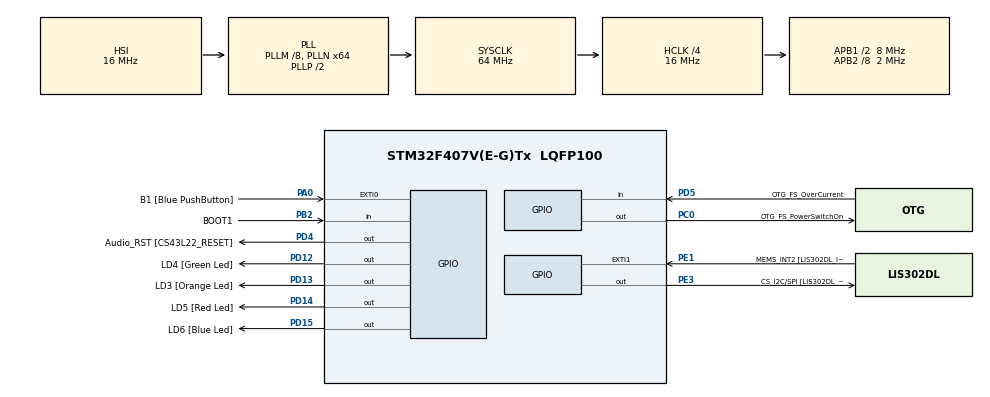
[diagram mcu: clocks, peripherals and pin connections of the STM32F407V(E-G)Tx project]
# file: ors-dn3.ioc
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Dma.MEMTOMEM.0.Direction=DMA_MEMORY_TO_MEMORY
Dma.MEMTOMEM.0.FIFOMode=DMA_FIFOMODE_ENABLE
Dma.MEMTOMEM.0.FIFOThreshold=DMA_FIFO_THRESHOLD_FULL
Dma.MEMTOMEM.0.Instance=DMA2_Stream0
Dma.MEMTOMEM.0.MemBurst=DMA_MBURST_SINGLE
Dma.MEMTOMEM.0.MemDataAlignment=DMA_MDATAALIGN_BYTE
Dma.MEMTOMEM.0.MemInc=DMA_MINC_ENABLE
Dma.MEMTOMEM.0.Mode=DMA_NORMAL
Dma.MEMTOMEM.0.PeriphBurst=DMA_PBURST_SINGLE
Dma.MEMTOMEM.0.PeriphDataAlignment=DMA_PDATAALIGN_BYTE
Dma.MEMTOMEM.0.PeriphInc=DMA_PINC_ENABLE
Dma.MEMTOMEM.0.Priority=DMA_PRIORITY_MEDIUM
Dma.Request0=MEMTOMEM
Mcu.Family=STM32F4
Mcu.Name=STM32F407V(E-G)Tx
Mcu.Package=LQFP100
NVIC.PriorityGroup=NVIC_PRIORITYGROUP_0
PA0-WKUP.GPIO_Label=B1 [Blue PushButton]
PA0-WKUP.Signal=GPXTI0
PA10.GPIO_Label=OTG_FS_ID
PA10.GPIO_Mode=GPIO_MODE_AF_PP
PA10.GPIO_PuPd=GPIO_NOPULL
PA10.GPIO_Speed=GPIO_SPEED_FREQ_LOW
PA10.Signal=USB_OTG_FS_ID
PA11.GPIO_Label=OTG_FS_DM
PA11.GPIO_Mode=GPIO_MODE_AF_PP
PA11.GPIO_PuPd=GPIO_NOPULL
PA11.GPIO_Speed=GPIO_SPEED_FREQ_LOW
PA11.Signal=USB_OTG_FS_DM
PA12.GPIO_Label=OTG_FS_DP
PA12.GPIO_Mode=GPIO_MODE_AF_PP
PA12.GPIO_PuPd=GPIO_NOPULL
PA12.GPIO_Speed=GPIO_SPEED_FREQ_LOW
PA12.Signal=USB_OTG_FS_DP
PA13.GPIO_Label=SWDIO
PA13.Signal=SYS_JTMS-SWDIO
PA14.GPIO_Label=SWCLK
PA14.Signal=SYS_JTCK-SWCLK
PA4.GPIO_Label=I2S3_WS [CS43L22_LRCK]
PA4.GPIO_Mode=GPIO_MODE_AF_PP
PA4.GPIO_PuPd=GPIO_NOPULL
PA4.GPIO_Speed=GPIO_SPEED_FREQ_LOW
PA4.Signal=I2S3_WS
PA5.GPIO_Label=SPI1_SCK [LIS302DL_SCL/SPC]
PA5.GPIO_Mode=GPIO_MODE_AF_PP
PA5.GPIO_PuPd=GPIO_NOPULL
PA5.GPIO_Speed=GPIO_SPEED_FREQ_LOW
PA5.Signal=SPI1_SCK
PA6.GPIO_Label=SPI1_MISO [LIS302DL_SDO]
PA6.GPIO_Mode=GPIO_MODE_AF_PP
PA6.GPIO_PuPd=GPIO_NOPULL
PA6.GPIO_Speed=GPIO_SPEED_FREQ_LOW
PA6.Signal=SPI1_MISO
PA7.GPIO_Label=SPI1_MOSI [LIS302DL_SDA/SDI/SDO]
PA7.GPIO_Mode=GPIO_MODE_AF_PP
PA7.GPIO_PuPd=GPIO_NOPULL
PA7.GPIO_Speed=GPIO_SPEED_FREQ_LOW
PA7.Signal=SPI1_MOSI
PA9.GPIO_Label=VBUS_FS
PA9.GPIO_Mode=GPIO_MODE_INPUT
PA9.GPIO_PuPd=GPIO_NOPULL
PA9.Signal=USB_OTG_FS_VBUS
PB10.GPIO_Label=CLK_IN [MP45DT02_CLK]
PB10.GPIO_Mode=GPIO_MODE_AF_PP
PB10.GPIO_PuPd=GPIO_NOPULL
PB10.GPIO_Speed=GPIO_SPEED_FREQ_LOW
PB10.Signal=I2S2_CK
PB2.GPIO_Label=BOOT1
PB2.GPIO_Mode=GPIO_MODE_INPUT
PB2.GPIO_PuPd=GPIO_NOPULL
PB2.Signal=GPIO_Input
PB3.GPIO_Label=SWO
PB3.Signal=SYS_JTDO-SWO
PB6.GPIO_Label=Audio_SCL [CS43L22_SCL]
PB6.GPIO_Mode=GPIO_MODE_AF_OD
PB6.GPIO_PuPd=GPIO_NOPULL
PB6.GPIO_Speed=GPIO_SPEED_FREQ_LOW
PB6.Signal=I2C1_SCL
PB9.GPIO_Label=Audio_SDA [CS43L22_SDA]
PB9.GPIO_Mode=GPIO_MODE_AF_OD
PB9.GPIO_PuPd=GPIO_NOPULL
PB9.GPIO_Speed=GPIO_SPEED_FREQ_LOW
PB9.Signal=I2C1_SDA
PC0.GPIO_Label=OTG_FS_PowerSwitchOn
PC0.GPIO_PuPd=GPIO_NOPULL
PC0.GPIO_Speed=GPIO_SPEED_FREQ_LOW
PC0.PinState=GPIO_PIN_SET
PC0.Signal=GPIO_Output
PC10.GPIO_Label=I2S3_SCK [CS43L22_SCLK]
PC10.GPIO_Mode=GPIO_MODE_AF_PP
PC10.GPIO_PuPd=GPIO_NOPULL
PC10.GPIO_Speed=GPIO_SPEED_FREQ_LOW
PC10.Signal=I2S3_CK
PC12.GPIO_Label=I2S3_SD [CS43L22_SDIN]
PC12.GPIO_Mode=GPIO_MODE_AF_PP
PC12.GPIO_PuPd=GPIO_NOPULL
PC12.GPIO_Speed=GPIO_SPEED_FREQ_LOW
PC12.Signal=I2S3_SD
PC14-OSC32_IN.GPIO_Label=PC14-OSC32_IN
PC14-OSC32_IN.Signal=RCC_OSC32_IN
PC15-OSC32_OUT.GPIO_Label=PC15-OSC32_OUT
PC15-OSC32_OUT.Signal=RCC_OSC32_OUT
PC3.GPIO_Label=PDM_OUT [MP45DT02_DOUT]
PC3.GPIO_Mode=GPIO_MODE_AF_PP
PC3.GPIO_PuPd=GPIO_NOPULL
PC3.GPIO_Speed=GPIO_SPEED_FREQ_LOW
PC3.Signal=I2S2_SD
PC7.GPIO_Label=I2S3_MCK [CS43L22_MCLK]
PC7.GPIO_Mode=GPIO_MODE_AF_PP
PC7.GPIO_PuPd=GPIO_NOPULL
PC7.GPIO_Speed=GPIO_SPEED_FREQ_LOW
PC7.Signal=I2S3_MCK
PD12.GPIO_Label=LD4 [Green Led]
PD12.GPIO_PuPd=GPIO_NOPULL
PD12.GPIO_Speed=GPIO_SPEED_FREQ_LOW
PD12.Signal=GPIO_Output
PD13.GPIO_Label=LD3 [Orange Led]
PD13.GPIO_PuPd=GPIO_NOPULL
PD13.GPIO_Speed=GPIO_SPEED_FREQ_LOW
PD13.Signal=GPIO_Output
PD14.GPIO_Label=LD5 [Red Led]
PD14.GPIO_PuPd=GPIO_NOPULL
PD14.GPIO_Speed=GPIO_SPEED_FREQ_LOW
PD14.Signal=GPIO_Output
PD15.GPIO_Label=LD6 [Blue Led]
PD15.GPIO_PuPd=GPIO_NOPULL
PD15.GPIO_Speed=GPIO_SPEED_FREQ_LOW
PD15.Signal=GPIO_Output
PD4.GPIO_Label=Audio_RST [CS43L22_RESET]
PD4.GPIO_PuPd=GPIO_NOPULL
PD4.GPIO_Speed=GPIO_SPEED_FREQ_LOW
PD4.Signal=GPIO_Output
PD5.GPIO_Label=OTG_FS_OverCurrent
PD5.GPIO_Mode=GPIO_MODE_INPUT
PD5.GPIO_PuPd=GPIO_NOPULL
PD5.Signal=GPIO_Input
PE1.GPIO_Label=MEMS_INT2 [LIS302DL_INT2]
PE1.GPIO_ModeDefaultEXTI=GPIO_MODE_EVT_RISING
PE1.GPIO_PuPd=GPIO_NOPULL
PE1.Signal=GPXTI1
PE3.GPIO_Label=CS_I2C/SPI [LIS302DL_CS_I2C/SPI]
PE3.GPIO_PuPd=GPIO_NOPULL
PE3.GPIO_Speed=GPIO_SPEED_FREQ_LOW
PE3.Signal=GPIO_Output
PH0-OSC_IN.GPIO_Label=PH0-OSC_IN
PH0-OSC_IN.Signal=RCC_OSC_IN
PH1-OSC_OUT.GPIO_Label=PH1-OSC_OUT
PH1-OSC_OUT.Signal=RCC_OSC_OUT
ProjectManager.HeapSize=0x200
ProjectManager.StackSize=0x400
ProjectManager.TargetToolchain=STM32CubeIDE
RCC.48MHZClocksFreq_Value=18285714.285714287
RCC.AHBCLKDivider=RCC_SYSCLK_DIV4
RCC.AHBFreq_Value=16000000
RCC.APB1CLKDivider=RCC_HCLK_DIV2
RCC.APB1Freq_Value=8000000
RCC.APB1TimFreq_Value=16000000
RCC.APB2CLKDivider=RCC_HCLK_DIV8
RCC.APB2Freq_Value=2000000
RCC.APB2TimFreq_Value=4000000
RCC.CortexFreq_Value=16000000
RCC.HCLKFreq_Value=16000000
RCC.HSE_VALUE=8000000
RCC.HSI_VALUE=16000000
RCC.LSE_VALUE=32768
RCC.PLLM=8
RCC.PLLN=64
RCC.PLLQ=7
RCC.SYSCLKFreq_VALUE=64000000
RCC.SYSCLKSource=RCC_SYSCLKSOURCE_PLLCLK
RCC.VCOOutputFreq_Value=128000000
board=STM32F407G-DISC1

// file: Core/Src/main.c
// PLAN
//--> 2 timerja
//    --> timer 3
//        --> interrupt vsakih 50ms
//        --> stej do 80 (4s) prenesi polji Ay in Ax (DMA)
//        --> stej do 400 (20s) --> analiza podatkov
//    --> timer 4 pwm za flashanje ledic
//--> polji Ay in Ax (80 meritev, ena meritev vsakih 50ms),
//    polje B (800 meritev, DMA prenos iz Ay, Ax vsake 4s). Ko se napolni, izvedemo analizo podatkov
//--> analiza podatkov
//    ce je odstopanje v podatkih visoko, zacnemo naslednih 20s flashat lucke.

/* USER CODE END Header */
#include "main.h"
#include <math.h>

void SystemClock_Config(void);
static void MX_GPIO_Init(void);

/* USER CODE BEGIN PFP */

TIM_HandleTypeDef timer;
TIM_HandleTypeDef timer2;

uint8_t Ax[80];
uint8_t Ay[80];
uint8_t B[900];

uint8_t in;
uint8_t in2;
uint8_t out;

SPI_HandleTypeDef hspi1;

DMA_HandleTypeDef dma;
DMA_InitTypeDef  DMA_InitStruct;

/* USER CODE END PFP */

/* USER CODE BEGIN 0 */

extern  int cnt1;
extern int cnt2;

void func(){

	HAL_GPIO_WritePin(GPIOE, GPIO_PIN_3, GPIO_PIN_RESET);
			 out = 0x29 | 0x80; // 0xa9
			 HAL_SPI_TransmitReceive(&hspi1, &out, &in, 1, HAL_MAX_DELAY);
			 HAL_SPI_TransmitReceive(&hspi1, &out, &in, 1, HAL_MAX_DELAY);
			 HAL_GPIO_WritePin(GPIOE, GPIO_PIN_3, GPIO_PIN_SET);

			 Ax[cnt1]=abs(in);

			 // beri naklon po y osi -> Naslov 0x2B
			 HAL_GPIO_WritePin(GPIOE, GPIO_PIN_3, GPIO_PIN_RESET);
			 out = 0x2B | 0x80; // 0xaB
			 HAL_SPI_TransmitReceive(&hspi1, &out, &in2, 1, HAL_MAX_DELAY);
			 HAL_SPI_TransmitReceive(&hspi1, &out, &in2, 1, HAL_MAX_DELAY);
			 HAL_GPIO_WritePin(GPIOE, GPIO_PIN_3, GPIO_PIN_SET);

			 Ay[cnt1]=abs(in2);

			 cnt1++;

			 if(cnt1>=80){

				 //vsake 4 sekunde DMA prenos

				 HAL_DMA_PollForTransfer(&dma, HAL_DMA_FULL_TRANSFER,
				 	HAL_MAX_DELAY);
				 HAL_DMA_Start(&dma, Ax, &B[cnt2 * 80],
				 			80 * sizeof(uint8_t));

				 //HAL_DMA_PollForTransfer(&dma, HAL_DMA_FULL_TRANSFER,
					//		 	HAL_MAX_DELAY);

				 HAL_DMA_Start(&dma, Ay,

				 			&B[400 + (80 * cnt2)],80*sizeof(uint8_t));
				 //HAL_DMA_Start(&dma,(uint32_t)&Ay,(uint32_t)&B,80*8);

				 cnt1=0;
				 cnt2++;

			 }
			 if(cnt2>=5)

			 {
				 //izracnaj povprecje

				 cnt2=0;

				 double average, variance, std_deviation, sum_two = 0;

				 	uint32_t sum = 0;
				 	// compute avg
				 	for (int32_t i = 0; i < 800; i++) {
				 		sum += (uint32_t) B[i];
				 	}

				 	average = sum / 400.0;

				 	// Compute  variance  and standard deviation
				 	for (int32_t i = 0; i < 800; i++) {
				 		sum_two += pow((((uint32_t)B[i]) - average), 2);
				 	}
				 	variance = sum_two / 400.0;
				 	std_deviation = sqrt(variance);

				 	if (std_deviation > 20 ){

				 		__HAL_TIM_SET_COMPARE(&timer, TIM_CHANNEL_1, 50 );
				 			__HAL_TIM_SET_COMPARE(&timer, TIM_CHANNEL_3, 50 );
				 			__HAL_TIM_SET_COMPARE(&timer, TIM_CHANNEL_2, 50 );
				 			__HAL_TIM_SET_COMPARE(&timer, TIM_CHANNEL_4, 50 );
				 	}else{

				 		__HAL_TIM_SET_COMPARE(&timer, TIM_CHANNEL_1, 0);
				 			__HAL_TIM_SET_COMPARE(&timer, TIM_CHANNEL_3, 0);
				 			__HAL_TIM_SET_COMPARE(&timer, TIM_CHANNEL_2, 0);
				 			__HAL_TIM_SET_COMPARE(&timer, TIM_CHANNEL_4, 0);
				 	}

			 }

}

/* USER CODE END 0 */

int main(void) {

	/* MCU Configuration--------------------------------------------------------*/

	/* Reset of all peripherals, Initializes the Flash interface and the Systick. */
	HAL_Init();

	/* Configure the system clock */
	SystemClock_Config();

	/* Initialize all configured peripherals */
	MX_GPIO_Init();
	/* USER CODE BEGIN 2 */

		     __DMA2_CLK_ENABLE();

		     DMA_InitStruct.Channel=DMA_CHANNEL_0; //mem to mem periph je source pri m2m

		     DMA_InitStruct.Direction  = DMA_MEMORY_TO_MEMORY;

		     DMA_InitStruct.PeriphInc = DMA_PINC_ENABLE;

		     DMA_InitStruct.MemInc = DMA_MINC_ENABLE; //increment

		     DMA_InitStruct.PeriphDataAlignment = DMA_PDATAALIGN_BYTE;
		     DMA_InitStruct.MemDataAlignment = DMA_MDATAALIGN_BYTE;

		     DMA_InitStruct.Mode = DMA_NORMAL;//v

		     DMA_InitStruct.Priority = DMA_PRIORITY_MEDIUM;

		     DMA_InitStruct.FIFOMode = DMA_FIFOMODE_ENABLE;
		     DMA_InitStruct.FIFOThreshold = DMA_FIFO_THRESHOLD_FULL;
		     DMA_InitStruct.MemBurst = DMA_MBURST_SINGLE;
		     DMA_InitStruct.PeriphBurst = DMA_PBURST_SINGLE;

		     dma.Instance = DMA2_Stream0;
		     dma.Init=DMA_InitStruct;

		     HAL_DMA_Init(&dma);

	__HAL_RCC_SPI1_CLK_ENABLE();

	      hspi1.Instance = SPI1;
	      hspi1.Init.Mode = SPI_MODE_MASTER;
	      hspi1.Init.Direction = SPI_DIRECTION_2LINES;
	      hspi1.Init.DataSize = SPI_DATASIZE_8BIT;
	      hspi1.Init.CLKPolarity = SPI_POLARITY_LOW;
	      hspi1.Init.CLKPhase = SPI_PHASE_1EDGE;
	      hspi1.Init.NSS = SPI_NSS_SOFT;
	      hspi1.Init.BaudRatePrescaler = SPI_BAUDRATEPRESCALER_256;
	      hspi1.Init.FirstBit = SPI_FIRSTBIT_MSB;
	      hspi1.Init.CRCCalculation = SPI_CRCCALCULATION_DISABLE;
	      HAL_SPI_Init(&hspi1);

	      __HAL_RCC_GPIOA_CLK_ENABLE();

	        GPIO_InitTypeDef init_structure;
	        init_structure.Pin = GPIO_PIN_5 | GPIO_PIN_6 | GPIO_PIN_7;
	        init_structure.Pull = GPIO_NOPULL;
	        init_structure.Speed = GPIO_SPEED_FREQ_LOW;
	        init_structure.Mode = GPIO_MODE_AF_PP;
	        init_structure.Alternate = GPIO_AF5_SPI1;
	        HAL_GPIO_Init(GPIOA, &init_structure);

	    __HAL_RCC_GPIOE_CLK_ENABLE();
	  	init_structure.Pin = GPIO_PIN_3;
	  	init_structure.Pull = GPIO_NOPULL;
	  	init_structure.Speed = GPIO_SPEED_FREQ_LOW;
	  	init_structure.Mode = GPIO_MODE_OUTPUT_PP;
	  	HAL_GPIO_Init(GPIOE, &init_structure);
	  	HAL_GPIO_WritePin(GPIOE, GPIO_PIN_3, GPIO_PIN_SET);

	  	 // slave deselect
	  		           HAL_GPIO_WritePin(GPIOE, GPIO_PIN_3, GPIO_PIN_RESET);
	  		           out = 0x8F;
	  		           HAL_SPI_TransmitReceive(&hspi1, &out, &in, 1, HAL_MAX_DELAY);
	  		           HAL_SPI_TransmitReceive(&hspi1, &out, &in, 1, HAL_MAX_DELAY);
	  		           HAL_GPIO_WritePin(GPIOE, GPIO_PIN_3, GPIO_PIN_SET);

	  		           HAL_GPIO_WritePin(GPIOE, GPIO_PIN_3, GPIO_PIN_RESET);
	  		           out = 0x20;
	  		           HAL_SPI_TransmitReceive(&hspi1, &out, &in, 1, HAL_MAX_DELAY);
	  		           out = 0x47;
	  		           HAL_SPI_TransmitReceive(&hspi1, &out, &in, 1, HAL_MAX_DELAY);
	  		           HAL_GPIO_WritePin(GPIOE, GPIO_PIN_3, GPIO_PIN_SET);

	  		         HAL_Delay(500);

	  		       __HAL_RCC_GPIOD_CLK_ENABLE();
	  		         // init leds
	  		         GPIO_InitTypeDef leds;
	  		         leds.Pin =  GPIO_PIN_12 | GPIO_PIN_13 | GPIO_PIN_14 | GPIO_PIN_15;
	  		         leds.Mode = GPIO_MODE_AF_PP;
	  		         leds.Alternate = GPIO_AF2_TIM4;
	  		         leds.Pull = GPIO_NOPULL;
	  		         leds.Speed = GPIO_SPEED_FREQ_LOW;

	  		         HAL_GPIO_Init(GPIOD,&leds);

	  		       __HAL_RCC_TIM4_CLK_ENABLE();

	  		        timer.Instance = TIM4;
	  		        timer.Init.CounterMode = TIM_COUNTERMODE_UP;
	  		        timer.Init.Period = 50 - 1; // 5 ms P = (ARR+1)*(1/(Clk_Freq/(Prescaler+1))
	  		        timer.Init.Prescaler = 1600 - 1; // 1/(16MhZ / 1600) = 0.1ms
	  		        HAL_TIM_PWM_Init(&timer);

	  		        TIM_OC_InitTypeDef PWM_channel;
	  		        PWM_channel.OCMode = TIM_OCMODE_PWM1;
	  		        PWM_channel.OCPolarity = TIM_OCPOLARITY_HIGH;

	  		        PWM_channel.Pulse = 50 - 1;
	  		        HAL_TIM_PWM_ConfigChannel(&timer, &PWM_channel, TIM_CHANNEL_1);
	  		        HAL_TIM_PWM_ConfigChannel(&timer, &PWM_channel, TIM_CHANNEL_3);

	  		        PWM_channel.Pulse = 0;
	  		        HAL_TIM_PWM_ConfigChannel(&timer, &PWM_channel, TIM_CHANNEL_2);
	  		        HAL_TIM_PWM_ConfigChannel(&timer, &PWM_channel, TIM_CHANNEL_4);

	  		        HAL_TIM_PWM_Start(&timer, TIM_CHANNEL_1);
	  		        HAL_TIM_PWM_Start(&timer, TIM_CHANNEL_2);
	  		        HAL_TIM_PWM_Start(&timer, TIM_CHANNEL_3);
	  		        HAL_TIM_PWM_Start(&timer, TIM_CHANNEL_4);

	  		      __HAL_RCC_TIM3_CLK_ENABLE();

	  		        timer2.Instance = TIM3;
	  		        timer2.Init.CounterMode = TIM_COUNTERMODE_UP;
	  		        timer2.Init.Period = 50 - 1; // 50 ms P = (ARR+1)*(1/(Clk_Freq/(Prescaler+1))
	  		        timer2.Init.Prescaler = 16000 - 1; // 1/(16MhZ / 16000) = 1 ms
	  		        HAL_TIM_Base_Init(&timer2);

	  		        __HAL_TIM_ENABLE_IT(&timer2,TIM_IT_UPDATE);

	  		        HAL_TIM_Base_Start(&timer2);

	  		        HAL_NVIC_SetPriority(TIM3_IRQn, 1, 2);
	  		        HAL_NVIC_EnableIRQ(TIM3_IRQn);

	/* USER CODE END 2 */

	/* Infinite loop */
	while (1) {

	}
}

void SystemClock_Config(void) {
	RCC_OscInitTypeDef RCC_OscInitStruct = { 0 };
	RCC_ClkInitTypeDef RCC_ClkInitStruct = { 0 };

	/** Configure the main internal regulator output voltage
	 */
	__HAL_RCC_PWR_CLK_ENABLE();
	__HAL_PWR_VOLTAGESCALING_CONFIG(PWR_REGULATOR_VOLTAGE_SCALE1);
	/** Initializes the RCC Oscillators according to the specified parameters
	 * in the RCC_OscInitTypeDef structure.
	 */
	RCC_OscInitStruct.OscillatorType = RCC_OSCILLATORTYPE_HSI;
	RCC_OscInitStruct.HSIState = RCC_HSI_ON;
	RCC_OscInitStruct.HSICalibrationValue = RCC_HSICALIBRATION_DEFAULT;
	RCC_OscInitStruct.PLL.PLLState = RCC_PLL_ON;
	RCC_OscInitStruct.PLL.PLLSource = RCC_PLLSOURCE_HSI;
	RCC_OscInitStruct.PLL.PLLM = 8;
	RCC_OscInitStruct.PLL.PLLN = 64;
	RCC_OscInitStruct.PLL.PLLP = RCC_PLLP_DIV2;
	RCC_OscInitStruct.PLL.PLLQ = 7;
	if (HAL_RCC_OscConfig(&RCC_OscInitStruct) != HAL_OK) {
		Error_Handler();
	}
	/** Initializes the CPU, AHB and APB buses clocks
	 */
	RCC_ClkInitStruct.ClockType = RCC_CLOCKTYPE_HCLK | RCC_CLOCKTYPE_SYSCLK
			| RCC_CLOCKTYPE_PCLK1 | RCC_CLOCKTYPE_PCLK2;
	RCC_ClkInitStruct.SYSCLKSource = RCC_SYSCLKSOURCE_PLLCLK;
	RCC_ClkInitStruct.AHBCLKDivider = RCC_SYSCLK_DIV4;
	RCC_ClkInitStruct.APB1CLKDivider = RCC_HCLK_DIV2;
	RCC_ClkInitStruct.APB2CLKDivider = RCC_HCLK_DIV8;

	if (HAL_RCC_ClockConfig(&RCC_ClkInitStruct, FLASH_LATENCY_0) != HAL_OK) {
		Error_Handler();
	}
}

static void MX_GPIO_Init(void) {
	GPIO_InitTypeDef GPIO_InitStruct = { 0 };

	/* GPIO Ports Clock Enable */
	__HAL_RCC_GPIOE_CLK_ENABLE();
	__HAL_RCC_GPIOC_CLK_ENABLE();
	__HAL_RCC_GPIOH_CLK_ENABLE();
	__HAL_RCC_GPIOA_CLK_ENABLE();
	__HAL_RCC_GPIOB_CLK_ENABLE();
	__HAL_RCC_GPIOD_CLK_ENABLE();

	/*Configure GPIO pin Output Level */
	HAL_GPIO_WritePin(CS_I2C_SPI_GPIO_Port, CS_I2C_SPI_Pin, GPIO_PIN_RESET);

	/*Configure GPIO pin Output Level */
	HAL_GPIO_WritePin(OTG_FS_PowerSwitchOn_GPIO_Port, OTG_FS_PowerSwitchOn_Pin,
			GPIO_PIN_SET);

	/*Configure GPIO pin Output Level */
	HAL_GPIO_WritePin(GPIOD,
	LD4_Pin | LD3_Pin | LD5_Pin | LD6_Pin | Audio_RST_Pin, GPIO_PIN_RESET);

	/*Configure GPIO pin : CS_I2C_SPI_Pin */
	GPIO_InitStruct.Pin = CS_I2C_SPI_Pin;
	GPIO_InitStruct.Mode = GPIO_MODE_OUTPUT_PP;
	GPIO_InitStruct.Pull = GPIO_NOPULL;
	GPIO_InitStruct.Speed = GPIO_SPEED_FREQ_LOW;
	HAL_GPIO_Init(CS_I2C_SPI_GPIO_Port, &GPIO_InitStruct);

	/*Configure GPIO pin : OTG_FS_PowerSwitchOn_Pin */
	GPIO_InitStruct.Pin = OTG_FS_PowerSwitchOn_Pin;
	GPIO_InitStruct.Mode = GPIO_MODE_OUTPUT_PP;
	GPIO_InitStruct.Pull = GPIO_NOPULL;
	GPIO_InitStruct.Speed = GPIO_SPEED_FREQ_LOW;
	HAL_GPIO_Init(OTG_FS_PowerSwitchOn_GPIO_Port, &GPIO_InitStruct);

	/*Configure GPIO pin : PDM_OUT_Pin */
	GPIO_InitStruct.Pin = PDM_OUT_Pin;
	GPIO_InitStruct.Mode = GPIO_MODE_AF_PP;
	GPIO_InitStruct.Pull = GPIO_NOPULL;
	GPIO_InitStruct.Speed = GPIO_SPEED_FREQ_LOW;
	GPIO_InitStruct.Alternate = GPIO_AF5_SPI2;
	HAL_GPIO_Init(PDM_OUT_GPIO_Port, &GPIO_InitStruct);

	/*Configure GPIO pin : B1_Pin */
	GPIO_InitStruct.Pin = B1_Pin;
	GPIO_InitStruct.Mode = GPIO_MODE_IT_RISING;
	GPIO_InitStruct.Pull = GPIO_NOPULL;
	HAL_GPIO_Init(B1_GPIO_Port, &GPIO_InitStruct);

	/*Configure GPIO pin : I2S3_WS_Pin */
	GPIO_InitStruct.Pin = I2S3_WS_Pin;
	GPIO_InitStruct.Mode = GPIO_MODE_AF_PP;
	GPIO_InitStruct.Pull = GPIO_NOPULL;
	GPIO_InitStruct.Speed = GPIO_SPEED_FREQ_LOW;
	GPIO_InitStruct.Alternate = GPIO_AF6_SPI3;
	HAL_GPIO_Init(I2S3_WS_GPIO_Port, &GPIO_InitStruct);

	/*Configure GPIO pins : SPI1_SCK_Pin SPI1_MISO_Pin SPI1_MOSI_Pin */
	GPIO_InitStruct.Pin = SPI1_SCK_Pin | SPI1_MISO_Pin | SPI1_MOSI_Pin;
	GPIO_InitStruct.Mode = GPIO_MODE_AF_PP;
	GPIO_InitStruct.Pull = GPIO_NOPULL;
	GPIO_InitStruct.Speed = GPIO_SPEED_FREQ_LOW;
	GPIO_InitStruct.Alternate = GPIO_AF5_SPI1;
	HAL_GPIO_Init(GPIOA, &GPIO_InitStruct);

	/*Configure GPIO pin : BOOT1_Pin */
	GPIO_InitStruct.Pin = BOOT1_Pin;
	GPIO_InitStruct.Mode = GPIO_MODE_INPUT;
	GPIO_InitStruct.Pull = GPIO_NOPULL;
	HAL_GPIO_Init(BOOT1_GPIO_Port, &GPIO_InitStruct);

	/*Configure GPIO pin : CLK_IN_Pin */
	GPIO_InitStruct.Pin = CLK_IN_Pin;
	GPIO_InitStruct.Mode = GPIO_MODE_AF_PP;
	GPIO_InitStruct.Pull = GPIO_NOPULL;
	GPIO_InitStruct.Speed = GPIO_SPEED_FREQ_LOW;
	GPIO_InitStruct.Alternate = GPIO_AF5_SPI2;
	HAL_GPIO_Init(CLK_IN_GPIO_Port, &GPIO_InitStruct);

	/*Configure GPIO pins : LD4_Pin LD3_Pin LD5_Pin LD6_Pin
	 Audio_RST_Pin */
	GPIO_InitStruct.Pin = LD4_Pin | LD3_Pin | LD5_Pin | LD6_Pin | Audio_RST_Pin;
	GPIO_InitStruct.Mode = GPIO_MODE_OUTPUT_PP;
	GPIO_InitStruct.Pull = GPIO_NOPULL;
	GPIO_InitStruct.Speed = GPIO_SPEED_FREQ_LOW;
	HAL_GPIO_Init(GPIOD, &GPIO_InitStruct);

	/*Configure GPIO pins : I2S3_MCK_Pin I2S3_SCK_Pin I2S3_SD_Pin */
	GPIO_InitStruct.Pin = I2S3_MCK_Pin | I2S3_SCK_Pin | I2S3_SD_Pin;
	GPIO_InitStruct.Mode = GPIO_MODE_AF_PP;
	GPIO_InitStruct.Pull = GPIO_NOPULL;
	GPIO_InitStruct.Speed = GPIO_SPEED_FREQ_LOW;
	GPIO_InitStruct.Alternate = GPIO_AF6_SPI3;
	HAL_GPIO_Init(GPIOC, &GPIO_InitStruct);

	/*Configure GPIO pin : VBUS_FS_Pin */
	GPIO_InitStruct.Pin = VBUS_FS_Pin;
	GPIO_InitStruct.Mode = GPIO_MODE_INPUT;
	GPIO_InitStruct.Pull = GPIO_NOPULL;
	HAL_GPIO_Init(VBUS_FS_GPIO_Port, &GPIO_InitStruct);

	/*Configure GPIO pins : OTG_FS_ID_Pin OTG_FS_DM_Pin OTG_FS_DP_Pin */
	GPIO_InitStruct.Pin = OTG_FS_ID_Pin | OTG_FS_DM_Pin | OTG_FS_DP_Pin;
	GPIO_InitStruct.Mode = GPIO_MODE_AF_PP;
	GPIO_InitStruct.Pull = GPIO_NOPULL;
	GPIO_InitStruct.Speed = GPIO_SPEED_FREQ_LOW;
	GPIO_InitStruct.Alternate = GPIO_AF10_OTG_FS;
	HAL_GPIO_Init(GPIOA, &GPIO_InitStruct);

	/*Configure GPIO pin : OTG_FS_OverCurrent_Pin */
	GPIO_InitStruct.Pin = OTG_FS_OverCurrent_Pin;
	GPIO_InitStruct.Mode = GPIO_MODE_INPUT;
	GPIO_InitStruct.Pull = GPIO_NOPULL;
	HAL_GPIO_Init(OTG_FS_OverCurrent_GPIO_Port, &GPIO_InitStruct);

	/*Configure GPIO pins : Audio_SCL_Pin Audio_SDA_Pin */
	GPIO_InitStruct.Pin = Audio_SCL_Pin | Audio_SDA_Pin;
	GPIO_InitStruct.Mode = GPIO_MODE_AF_OD;
	GPIO_InitStruct.Pull = GPIO_NOPULL;
	GPIO_InitStruct.Speed = GPIO_SPEED_FREQ_LOW;
	GPIO_InitStruct.Alternate = GPIO_AF4_I2C1;
	HAL_GPIO_Init(GPIOB, &GPIO_InitStruct);

	/*Configure GPIO pin : MEMS_INT2_Pin */
	GPIO_InitStruct.Pin = MEMS_INT2_Pin;
	GPIO_InitStruct.Mode = GPIO_MODE_EVT_RISING;
	GPIO_InitStruct.Pull = GPIO_NOPULL;
	HAL_GPIO_Init(MEMS_INT2_GPIO_Port, &GPIO_InitStruct);

}

void Error_Handler(void) {
	__disable_irq();
	while (1) {
	}
}
